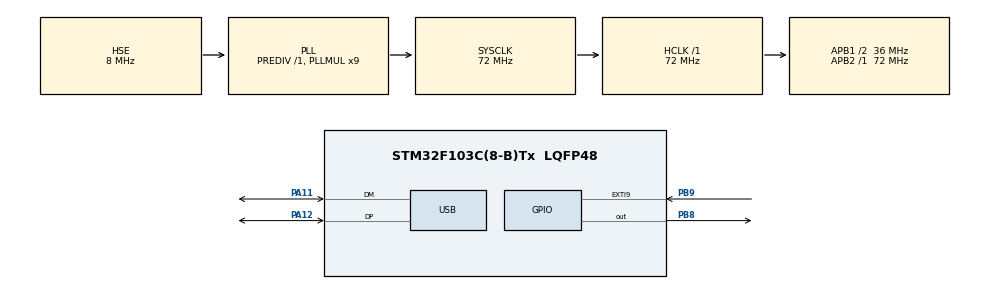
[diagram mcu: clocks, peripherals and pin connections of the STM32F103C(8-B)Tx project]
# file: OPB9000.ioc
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Dma.MEMTOMEM.0.Direction=DMA_MEMORY_TO_MEMORY
Dma.MEMTOMEM.0.Instance=DMA1_Channel1
Dma.MEMTOMEM.0.MemDataAlignment=DMA_MDATAALIGN_BYTE
Dma.MEMTOMEM.0.MemInc=DMA_MINC_ENABLE
Dma.MEMTOMEM.0.Mode=DMA_NORMAL
Dma.MEMTOMEM.0.PeriphDataAlignment=DMA_PDATAALIGN_BYTE
Dma.MEMTOMEM.0.PeriphInc=DMA_PINC_ENABLE
Dma.MEMTOMEM.0.Priority=DMA_PRIORITY_LOW
Dma.Request0=MEMTOMEM
Mcu.Family=STM32F1
Mcu.Name=STM32F103C(8-B)Tx
Mcu.Package=LQFP48
NVIC.EXTI9_5_IRQn=true\:0\:0\:false\:false\:true\:true\:true\:true
NVIC.PriorityGroup=NVIC_PRIORITYGROUP_2
NVIC.TIM2_IRQn=true\:0\:0\:false\:false\:true\:true\:true\:true
NVIC.USB_LP_CAN1_RX0_IRQn=true\:0\:0\:false\:false\:true\:false\:true\:true
PA11.Mode=Device
PA11.Signal=USB_DM
PA12.Mode=Device
PA12.Signal=USB_DP
PA13.Mode=Serial_Wire
PA13.Signal=SYS_JTMS-SWDIO
PA14.Mode=Serial_Wire
PA14.Signal=SYS_JTCK-SWCLK
PB8.Signal=GPIO_Output
PB9.GPIO_ModeDefaultEXTI=GPIO_MODE_IT_RISING_FALLING
PB9.Signal=GPXTI9
PD0-OSC_IN.Mode=HSE-External-Oscillator
PD0-OSC_IN.Signal=RCC_OSC_IN
PD1-OSC_OUT.Mode=HSE-External-Oscillator
PD1-OSC_OUT.Signal=RCC_OSC_OUT
ProjectManager.HeapSize=0x200
ProjectManager.StackSize=0x400
ProjectManager.TargetToolchain=MDK-ARM V5
RCC.AHBFreq_Value=72000000
RCC.APB1CLKDivider=RCC_HCLK_DIV2
RCC.APB1Freq_Value=36000000
RCC.APB1TimFreq_Value=72000000
RCC.APB2Freq_Value=72000000
RCC.APB2TimFreq_Value=72000000
RCC.HCLKFreq_Value=72000000
RCC.PLLMUL=RCC_PLL_MUL9
RCC.SYSCLKFreq_VALUE=72000000
RCC.SYSCLKSource=RCC_SYSCLKSOURCE_PLLCLK
RCC.USBFreq_Value=48000000
RCC.USBPrescaler=RCC_USBCLKSOURCE_PLL_DIV1_5
TIM2.Period=999
TIM2.Prescaler=7199
USB_DEVICE.CLASS_NAME_FS=CDC
USB_DEVICE.VirtualMode=Cdc
USB_DEVICE.VirtualModeFS=Cdc_FS
VP_TIM2_VS_ClockSourceINT.Mode=Internal
VP_USB_DEVICE_VS_USB_DEVICE_CDC_FS.Mode=CDC_FS
board=custom

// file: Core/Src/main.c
/* USER CODE BEGIN Header */
/**
  ******************************************************************************
  * @file           : main.c
  * @brief          : Main program body
  ******************************************************************************
  * @attention
  *
  * Copyright (c) 2024 STMicroelectronics.
  * All rights reserved.
  *
  * This software is licensed under terms that can be found in the LICENSE file
  * in the root directory of this software component.
  * If no LICENSE file comes with this software, it is provided AS-IS.
  *
  ******************************************************************************
  */
/* USER CODE END Header */
#include "main.h"
#include "tim.h"
#include "usb_device.h"
#include "gpio.h"

/* USER CODE BEGIN Includes */
#include "usbd_cdc_if.h"
#include "OPB9000.h"
/* USER CODE END Includes */

void SystemClock_Config(void);

uint8_t bIslevelShow = 0;
int main(void)
{

  /* USER CODE BEGIN 1 */
  uint32_t tick = 0;

  /* USER CODE END 1 */

  /* MCU Configuration--------------------------------------------------------*/

  /* Reset of all peripherals, Initializes the Flash interface and the Systick. */
  HAL_Init();

  /* Configure the system clock*/
  SystemClock_Config();
//	SystemCoreClockUpdate();

  /* Initialize all configured peripherals */
  MX_GPIO_Init();
  MX_USB_DEVICE_Init();
  MX_TIM2_Init();
//	MX_TIM3_Init();
  /* USER CODE BEGIN 2 */

  HAL_GPIO_TogglePin(GPIOC, GPIO_PIN_13);
  HAL_Delay(250);
  HAL_GPIO_TogglePin(GPIOC, GPIO_PIN_13);
  HAL_Delay(250);
  HAL_GPIO_TogglePin(GPIOC, GPIO_PIN_13);
  HAL_Delay(250);
  HAL_GPIO_TogglePin(GPIOC, GPIO_PIN_13);
  HAL_Delay(250);

  /* USER CODE END 2 */

  /* Infinite loop */
  while (1)
  {

    /* USER CODE BEGIN 3 */

    if (OPB9000_Com_Status == OPB9000_Com_Status_Done)
    {
      if (OPB9000_Cmd_Status == OPB9000_Cmd_Status_ReadRequest)
      {
        USB_CDC_Ptintf("ReadRequest\r\n");
        USB_CDC_Ptintf("--Bank1   CA:%4d  AGC:%4d  LED:%4d\r\n", \
        OPB9000_Bank_Data_Value.Bank1Data.Bank1Bit.CA, \
        OPB9000_Bank_Data_Value.Bank1Data.Bank1Bit.AGC, \
        OPB9000_Bank_Data_Value.Bank1Data.Bank1Bit.LED \
        );
        USB_CDC_Ptintf("--Bank2  REF:%4d   DS:%4d   OP:%4d\r\n", \
        OPB9000_Bank_Data_Value.Bank2Data.Bank2Bit.REF, \
        OPB9000_Bank_Data_Value.Bank2Data.Bank2Bit.DS, \
        OPB9000_Bank_Data_Value.Bank2Data.Bank2Bit.OP \
        );
        USB_CDC_Ptintf("--Bank3   SB:%4d   EF:%4d\r\n", \
        OPB9000_Bank_Data_Value.Bank3Data.Bank3Bit.StartBit, \
        OPB9000_Bank_Data_Value.Bank3Data.Bank3Bit.ErrorFlag \
        );
				if(OPB9000_Bank_Data_Value.Bank3Data.Bank3Bit.ErrorFlag)
				{
					 USB_CDC_Ptintf("读取失败，请移开试剂 使蓝灯熄灭后再读\r\n");
				}
				else
				{
					USB_CDC_Ptintf("读取成功，灵敏度为：%4d    ", OPB9000_Bank_Data_Value.Bank2Data.Bank2Bit.REF);
					if(OPB9000_Bank_Data_Value.Bank2Data.Bank2Bit.OP)
						USB_CDC_Ptintf("极性正向\r\n");
					else
						USB_CDC_Ptintf("极性反向\r\n");
				}
				if(bIslevelShow == 1)
				{
					for (int i = 0; i<ManchesterDataSize; ++i)
					{
						if (ManchesterData[i] == 0)
							USB_CDC_Ptintf("_");
						else if (ManchesterData[i] == 1)
							USB_CDC_Ptintf("-");
						else if (ManchesterData[i] == 2)
							USB_CDC_Ptintf("0");
						else if (ManchesterData[i] == 3)
							USB_CDC_Ptintf("1");
					}
				}
/*//        USB_CDC_Ptintf("\r\n");
//        uint64_t tempData;
//        tempData= getOPB9000Data();
//        for (int i = 0; i<37; ++i)
//        {
//          if (tempData & (1<<i))
//            USB_CDC_Ptintf("1");
//          else
//            USB_CDC_Ptintf("0");
//          if (i == 10 || i == 23)
//            USB_CDC_Ptintf("\r\n");
//        }
//        uint32_t tempData;
//        tempData= getOPB9000Data2(0);
//        for (int i = 0; i<32; ++i)
//        {
//          if (tempData & (1<<i))
//            USB_CDC_Ptintf("1");
//          else
//            USB_CDC_Ptintf("0");
//        }
//        tempData= getOPB9000Data2(1);
//        for (int i = 32; i<37; ++i)
//        {
//          if (tempData & (1<<(i-32)))
//            USB_CDC_Ptintf("1");
//          else
//            USB_CDC_Ptintf("0");
//        }
//        USB_CDC_Ptintf("\r\n");*/
      }
      else if (OPB9000_Cmd_Status == OPB9000_Cmd_Status_WriteBank2bits)
      {
        USB_CDC_Ptintf("WriteBank2bits\r\n");
        USB_CDC_Ptintf("--Complete\r\n");
        OPB9000_Read_Request();
      }
      else if (OPB9000_Cmd_Status == OPB9000_Cmd_Status_CalibrateRequest)
      {
        USB_CDC_Ptintf("CalibrateRequest\r\n");
        if (OPB9000_Cal_Result == OPB9000_Cal_Result_Successful)
          USB_CDC_Ptintf("--Successful\r\n");
        else
          USB_CDC_Ptintf("--Unsuccessful\r\n");
        OPB9000_Read_Request();
      }
      OPB9000_Com_Status = OPB9000_Com_Status_Idle;
      OPB9000_Cmd_Status = OPB9000_Cmd_Status_Idle;
    }

		/* USB 处理 */
		if (u8UsbCdcReceiveMessageNumber)
		{
			const char *string = NULL;
			uint8_t len;
			char CMD[5];
			uint32_t p1,p2,p3;
			int parameterNum;

			/* 处理消息 */
			string = (const char *)getUSB_CDC_ReceiveBuffer();
			len = getUSB_CDC_ReceiveLength();
			USB_CDC_Ptintf("receive data(%2d) -- %s\r\n", len, string);

			/*
			协议格式
			## / CMD / p1 / p2 / p3 / ##
			*/
			parameterNum = sscanf(string, "## / %s / %u / %u / %u / ##", CMD,&p1,&p2,&p3);

			if (parameterNum != 4)
			{
				/* 未知命令 --help */
				USB_CDC_Ptintf("********************  help  ********************\r\n");
				USB_CDC_Ptintf("*   协议格式                                   *\r\n");
				USB_CDC_Ptintf("*   ## / CMD / P1 / P2 / P3 / ##               *\r\n");
				USB_CDC_Ptintf("*    --CMD                                     *\r\n");
				USB_CDC_Ptintf("*      -- RR (ReadRequest)                     *\r\n");
				USB_CDC_Ptintf("*        -- P1 (no use)                        *\r\n");
				USB_CDC_Ptintf("*        -- P2 (no use)                        *\r\n");
				USB_CDC_Ptintf("*        -- P3 (no use)                        *\r\n");
				USB_CDC_Ptintf("*      -- WB (WriteBank2bits)                  *\r\n");
				USB_CDC_Ptintf("*        -- P1 (REF)                           *\r\n");
				USB_CDC_Ptintf("*        -- P2 (DS)                            *\r\n");
				USB_CDC_Ptintf("*        -- P3 (OP)                            *\r\n");
				USB_CDC_Ptintf("*      -- CR (CalibrateRequest)                *\r\n");
				USB_CDC_Ptintf("*        -- P1 (no use)                        *\r\n");
				USB_CDC_Ptintf("*        -- P2 (no use)                        *\r\n");
				USB_CDC_Ptintf("*        -- P3 (no use)                        *\r\n");
				USB_CDC_Ptintf("*      -- CS (CalibrateStand)                  *\r\n");
				USB_CDC_Ptintf("*        -- P1 (no use)                        *\r\n");
				USB_CDC_Ptintf("*        -- P2 (no use)                        *\r\n");
				USB_CDC_Ptintf("*        -- P3 (no use)                        *\r\n");
				USB_CDC_Ptintf("*      -- LS (LevelShow)                       *\r\n");
				USB_CDC_Ptintf("*        -- P1 (0 off 1 on)                    *\r\n");
				USB_CDC_Ptintf("*        -- P2 (no use)                        *\r\n");
				USB_CDC_Ptintf("*        -- P3 (no use)                        *\r\n");
				USB_CDC_Ptintf("********************  help  ********************\r\n");
			}
			else
			{
				/* 读取Bank请求 */
				if (strcmp("RR",CMD) == 0)
				{
					OPB9000_Read_Request();
				}
				/* 写入Bank2 */
				else if (strcmp("WB",CMD) == 0)
				{
					setOPB9000Bank2(p1,p2,p3);
					OPB9000_WriteBank2bits();
				}
				/* 校准请求 */
				else if (strcmp("CR",CMD) == 0)
				{
					OPB9000_Calibrate_Request();
				}
				else if(strcmp("LS",CMD) == 0)
				{
					if(p1 == 0)
					{
						bIslevelShow = 0;
						USB_CDC_Ptintf("LevelShow off\r\n");
					}
					else if(p1 == 1)
					{
						bIslevelShow = 1;
						USB_CDC_Ptintf("LevelShow open\r\n");
					}

				}
				else if(strcmp("CS",CMD) == 0)
				{
					OPB9000_Calibrate_Stand();
				}
			}
			USB_CDC_ReceiveDataReadDone(  );
		}
		if (u8UsbCdcTransmitMessageNumber)
		{
			USB_CDC_SendData(u8UsbCdcTransmitBuffer[u8UsbCdcTransmitGrooveIndex],u8UsbCdcTransmitLength[u8UsbCdcTransmitGrooveIndex]);
			USB_CDC_TrainsmitDataDone(  );
		}

		/* LED输出 */
		if (OPB9000_Cmd_Status == OPB9000_Cmd_Status_Idle)
		{
			if (HAL_GPIO_ReadPin(GPIOB, GPIO_PIN_9) != GPIO_PIN_RESET)
				HAL_GPIO_WritePin(GPIOC, GPIO_PIN_13, GPIO_PIN_SET);
			else
				HAL_GPIO_WritePin(GPIOC, GPIO_PIN_13, GPIO_PIN_RESET);
		}
  }
  /* USER CODE END 3 */
}

void SystemClock_Config(void)
{
  RCC_OscInitTypeDef RCC_OscInitStruct = {0};
  RCC_ClkInitTypeDef RCC_ClkInitStruct = {0};
  RCC_PeriphCLKInitTypeDef PeriphClkInit = {0};

  /** Initializes the RCC Oscillators according to the specified parameters
  * in the RCC_OscInitTypeDef structure.
  */
  RCC_OscInitStruct.OscillatorType = RCC_OSCILLATORTYPE_HSE;
  RCC_OscInitStruct.HSEState = RCC_HSE_ON;
  RCC_OscInitStruct.HSEPredivValue = RCC_HSE_PREDIV_DIV1;
  RCC_OscInitStruct.HSIState = RCC_HSI_ON;
  RCC_OscInitStruct.PLL.PLLState = RCC_PLL_ON;
  RCC_OscInitStruct.PLL.PLLSource = RCC_PLLSOURCE_HSE;
  RCC_OscInitStruct.PLL.PLLMUL = RCC_PLL_MUL9;
  if (HAL_RCC_OscConfig(&RCC_OscInitStruct) != HAL_OK)
  {
    Error_Handler();
  }

  /** Initializes the CPU, AHB and APB buses clocks
  */
  RCC_ClkInitStruct.ClockType = RCC_CLOCKTYPE_HCLK|RCC_CLOCKTYPE_SYSCLK
                              |RCC_CLOCKTYPE_PCLK1|RCC_CLOCKTYPE_PCLK2;
  RCC_ClkInitStruct.SYSCLKSource = RCC_SYSCLKSOURCE_PLLCLK;
  RCC_ClkInitStruct.AHBCLKDivider = RCC_SYSCLK_DIV1;
  RCC_ClkInitStruct.APB1CLKDivider = RCC_HCLK_DIV2;
  RCC_ClkInitStruct.APB2CLKDivider = RCC_HCLK_DIV1;

  if (HAL_RCC_ClockConfig(&RCC_ClkInitStruct, FLASH_LATENCY_2) != HAL_OK)
  {
    Error_Handler();
  }
  PeriphClkInit.PeriphClockSelection = RCC_PERIPHCLK_USB;
  PeriphClkInit.UsbClockSelection = RCC_USBCLKSOURCE_PLL_DIV1_5;
  if (HAL_RCCEx_PeriphCLKConfig(&PeriphClkInit) != HAL_OK)
  {
    Error_Handler();
  }
}

void Error_Handler(void)
{
  __disable_irq();
  while (1)
  {
  }
}
